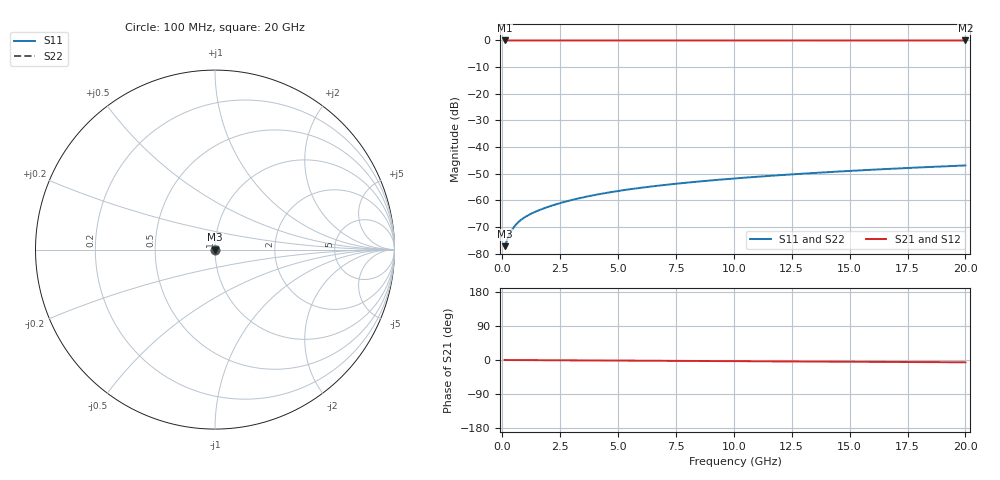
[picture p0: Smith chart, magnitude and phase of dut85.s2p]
! Touchstone file exported from HFSS 2026.1.0
!  File:  C:/ffzhzh/LocalFiles/Ansys_Project_Files/temp_train_TSV_85_1782959571_45308.aedt
!  Generated:  10:34:27 AM Jul  2, 2026
!  Design:  TSV
!  Project:  temp_train_TSV_85_1782959571_45308
! Variables:
!  h_bsmrdl = 2um
!  h_ox = 20um
!  h_rdl = 5um
!  h_sub = 59.52um
!  h_tmrdl = 5um
!  h_tsv = 59.52um
!  h_via = 3um
!  l_bsmrdl = 300um
!  l_sub = 417.54um
!  l_tmrdl = 200um
!  m_sub = 200um
!  pitch = 36.84um
!  r_tsv = 8.77um
!  s_tmrdl = 10um
!  w_bsmrdl = 18um
!  w_sub = 500um
!  w_tmrdl = 12um
!  x_tsv_center1 = 206um
!  x_tsv_center2 = 524um
!  x_tsv_center3 = 736um
!  x_tsv_center4 = 1054um
!  x_tsv_center5 = 1266um
!  x_tsv_center6 = 1584um
# GHz S MA R 50.000000
! Terminal data exported
! Port[1] = TSV1_1_T1
! Port[2] = TSV1_1_T2
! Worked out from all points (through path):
!   200 points, 100 MHz to 20 GHz, reference 50 ohm
!   highest |S21| = 0.00 dB at 100 MHz (marker M1); lowest = 0.0 dB at 20 GHz (marker M2)
!   lowest |S11| = -77.1 dB at 100 MHz (marker M3), VSWR 1.00, Z = 50 + j0.00582 ohm
!   |S11| at or under -10 dB: start of sweep to end of sweep
!   |S22| runs from -77.1 to -46.9 dB; largest |S21 - S12| = 4.5e-15
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0.1  0.0001389 24.8  0.9999 -0.0  0.9999 -0.0  0.0001389 24.8
! Gamma 0 0 0 0
! Port Impedance 50 0 50 0
0.3  0.0002244 47.4  0.9998 -0.1  0.9998 -0.1  0.0002244 47.4
0.4  0.0002714 51.1  0.9998 -0.1  0.9998 -0.1  0.0002714 51.1
0.5  0.000316 53.0  0.9998 -0.2  0.9998 -0.2  0.000316 53.0
0.6  0.0003571 54.0  0.9998 -0.2  0.9998 -0.2  0.0003571 54.0
0.7  0.000395 54.7  0.9998 -0.2  0.9998 -0.2  0.000395 54.7
0.8  0.00043 55.2  0.9998 -0.3  0.9998 -0.3  0.00043 55.2
1  0.0004935 56.1  0.9997 -0.3  0.9997 -0.3  0.0004934 56.1
1.2  0.0005513 57.0  0.9997 -0.4  0.9997 -0.4  0.0005513 57.0
1.4  0.0006061 58.0  0.9997 -0.4  0.9997 -0.4  0.0006061 58.0
2  0.0007636 60.8  0.9996 -0.6  0.9996 -0.6  0.0007636 60.8
2.7  0.0009434 63.1  0.9996 -0.8  0.9996 -0.8  0.0009435 63.1
3.5  0.001145 64.9  0.9995 -1.1  0.9995 -1.1  0.001145 64.9
4.2  0.001316 65.8  0.9995 -1.3  0.9995 -1.3  0.001316 65.8
5  0.001504 66.6  0.9994 -1.5  0.9994 -1.5  0.001504 66.6
5.9  0.001709 67.2  0.9994 -1.8  0.9994 -1.8  0.001709 67.2
6.8  0.001907 67.7  0.9993 -2.1  0.9993 -2.1  0.001907 67.7
8.3  0.002226 68.3  0.9993 -2.5  0.9993 -2.5  0.002226 68.3
10.1  0.002598 68.9  0.9992 -3.1  0.9992 -3.1  0.002598 68.9
13.4  0.003263 69.5  0.9991 -4.1  0.9991 -4.1  0.003263 69.5
16.7  0.003908 69.6  0.999 -5.1  0.999 -5.1  0.003908 69.6
20  0.004532 69.4  0.9988 -6.1  0.9988 -6.1  0.004532 69.4
